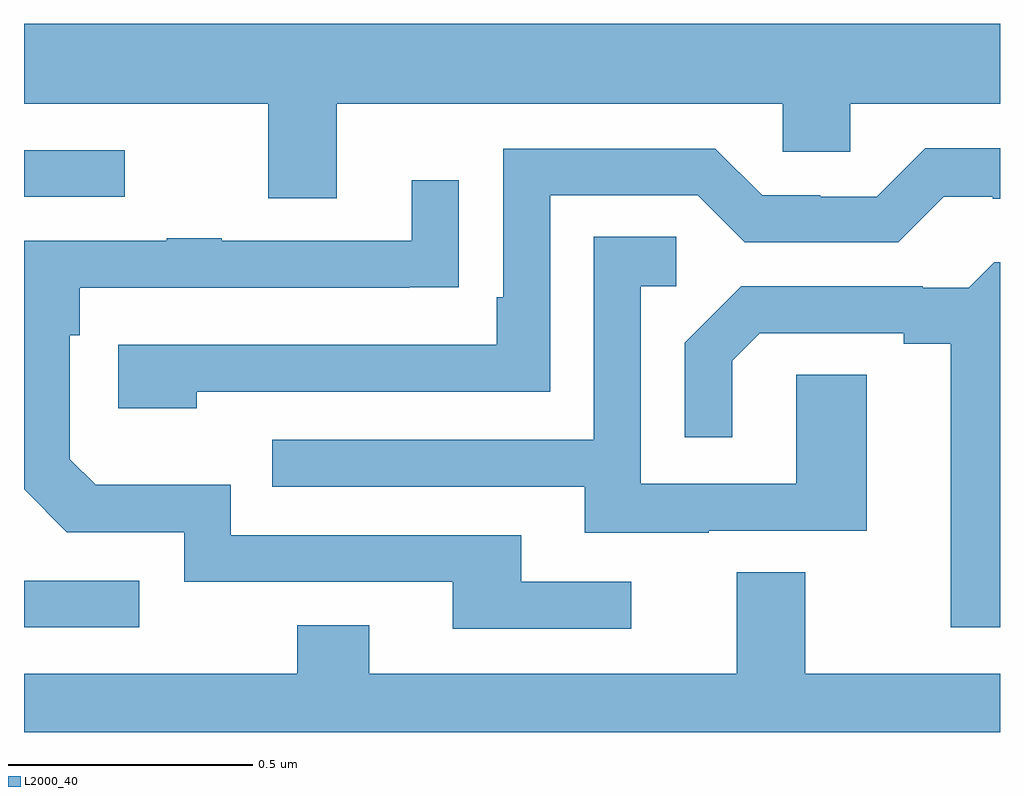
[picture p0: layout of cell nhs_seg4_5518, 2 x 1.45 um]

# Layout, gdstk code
import gdstk
lib = gdstk.Library(unit=1e-6, precision=1e-09)
def R(c, l, rs):  # rectangles x0, y0, x1, y1
    for r in rs: c.add(gdstk.rectangle(r[:2], r[2:], *l))
def P(c, l, *ps):  # polygons
    for p in ps: c.add(gdstk.Polygon(p, *l))
L2000_40 = (2000, 40)

nhs_seg4_5518 = lib.new_cell('nhs_seg4_5518')
R(nhs_seg4_5518, L2000_40, [(179,761.115,179.236,761.211), (179,761.997,179.206,762.093)])
P(nhs_seg4_5518, L2000_40, [(179.641,762.188),(180.555,762.188),(180.555,762.09),(180.693,762.09),(180.693,762.188),(181,762.188),(181,762.352),(179,762.352),(179,762.188),(179.501,762.188),(179.501,761.994),(179.641,761.994)],
  [(179.354,761.598),(180.078,761.598),(180.078,762),(180.381,762),(180.477,761.904),(180.792,761.904),(180.885,761.997),(180.985,761.997),(180.985,761.993),(181,761.993),(181,762.097),(180.847,762.097),(180.747,761.997),(180.632,761.997),(180.632,762),(180.513,762),(180.417,762.096),(179.982,762.096),(179.982,761.791),(179.969,761.791),(179.969,761.694),(179.193,761.694),(179.193,761.564),(179.354,761.564)],
  [(180.244,761.208),(180.019,761.208),(180.019,761.304),(179.424,761.304),(179.424,761.407),(179.147,761.407),(179.094,761.46),(179.094,761.714),(179.114,761.714),(179.114,761.811),(179.789,761.811),(179.789,761.812),(179.891,761.812),(179.891,762.031),(179.795,762.031),(179.795,761.907),(179.405,761.907),(179.405,761.912),(179.293,761.912),(179.293,761.907),(179,761.907),(179,761.398),(179.088,761.31),(179.328,761.31),(179.328,761.208),(179.879,761.208),(179.879,761.112),(180.244,761.112)],
  [(180.403,761.313),(180.727,761.313),(180.727,761.633),(180.582,761.633),(180.582,761.409),(180.264,761.409),(180.264,761.814),(180.337,761.814),(180.337,761.915),(180.168,761.915),(180.168,761.499),(179.509,761.499),(179.509,761.403),(180.149,761.403),(180.149,761.309),(180.403,761.309)],
  [(181,761.863),(180.988,761.863),(180.936,761.811),(180.842,761.811),(180.842,761.814),(180.47,761.814),(180.354,761.698),(180.354,761.505),(180.451,761.505),(180.451,761.661),(180.508,761.718),(180.803,761.718),(180.803,761.696),(180.899,761.696),(180.899,761.115),(181,761.115)],
  [(181,761.02),(180.601,761.02),(180.601,761.228),(180.461,761.228),(180.461,761.02),(179.707,761.02),(179.707,761.119),(179.56,761.119),(179.56,761.02),(179,761.02),(179,760.9),(181,760.9)])

lib.write_gds('nhs_seg4_5518.gds')
